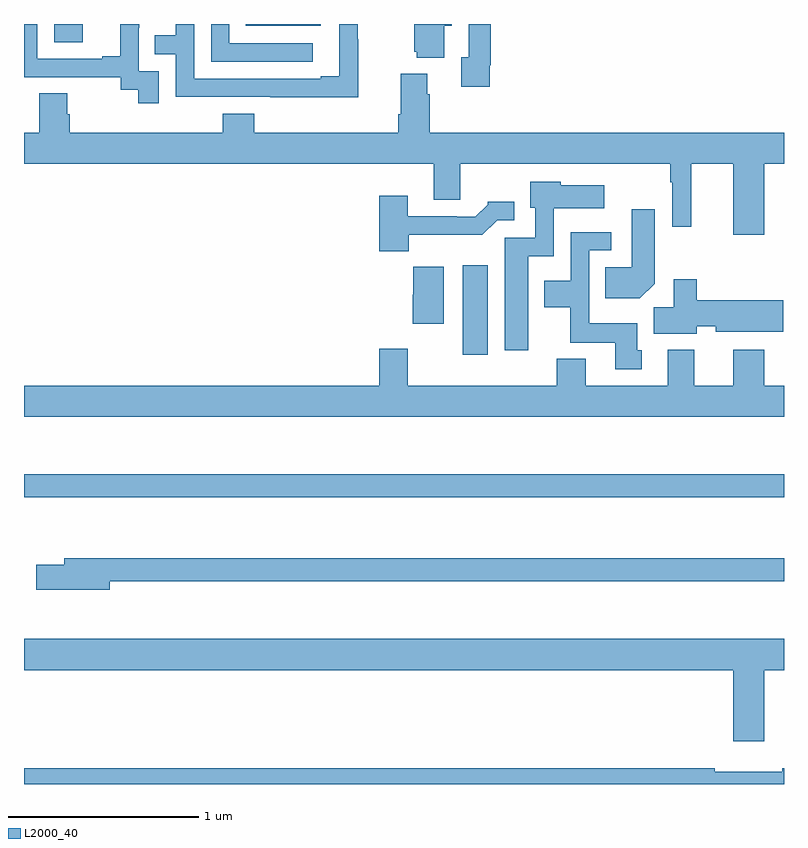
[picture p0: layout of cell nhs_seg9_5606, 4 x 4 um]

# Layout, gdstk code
import gdstk
lib = gdstk.Library(unit=1e-6, precision=1e-09)
def R(c, l, rs):  # rectangles x0, y0, x1, y1
    for r in rs: c.add(gdstk.rectangle(r[:2], r[2:], *l))
def P(c, l, *ps):  # polygons
    for p in ps: c.add(gdstk.Polygon(p, *l))
L2000_40 = (2000, 40)

nhs_seg9_5606 = lib.new_cell('nhs_seg9_5606')
R(nhs_seg9_5606, L2000_40, [(437,1184.01,441,1184.131), (439.31,1184.76,439.441,1185.229), (437.16,1186.404,437.308,1186.5), (438.166,1186.49,438.562,1186.5)])
P(nhs_seg9_5606, L2000_40, [(437.709,1186.251),(437.604,1186.251),(437.604,1186.481),(437.606,1186.481),(437.606,1186.5),(437.507,1186.5),(437.507,1186.33),(437.411,1186.33),(437.411,1186.317),(437.07,1186.317),(437.07,1186.5),(437,1186.5),(437,1186.221),(437.508,1186.221),(437.508,1186.153),(437.601,1186.153),(437.601,1186.083),(437.709,1186.083)],
  [(438.52,1186.398),(438.081,1186.398),(438.081,1186.5),(437.985,1186.5),(437.985,1186.302),(438.52,1186.302)],
  [(439.213,1186.49),(439.252,1186.49),(439.252,1186.5),(439.055,1186.5),(439.055,1186.353),(439.067,1186.353),(439.067,1186.322),(439.213,1186.322)],
  [(438.759,1186.421),(438.756,1186.421),(438.756,1186.5),(438.66,1186.5),(438.66,1186.225),(438.563,1186.225),(438.563,1186.212),(437.895,1186.212),(437.895,1186.5),(437.799,1186.5),(437.799,1186.442),(437.689,1186.442),(437.689,1186.341),(437.799,1186.341),(437.799,1186.116),(438.295,1186.116),(438.295,1186.115),(438.759,1186.115)],
  [(439.45,1186.282),(439.457,1186.282),(439.457,1186.5),(439.341,1186.5),(439.341,1186.326),(439.301,1186.326),(439.301,1186.17),(439.45,1186.17)],
  [(440.896,1185.764),(441,1185.764),(441,1185.928),(439.136,1185.928),(439.136,1186.13),(439.123,1186.13),(439.123,1186.237),(438.983,1186.237),(438.983,1186.024),(438.971,1186.024),(438.971,1185.928),(438.212,1185.928),(438.212,1186.027),(438.047,1186.027),(438.047,1185.928),(437.24,1185.928),(437.24,1186.026),(437.227,1186.026),(437.227,1186.136),(437.08,1186.136),(437.08,1185.928),(437,1185.928),(437,1185.764),(439.157,1185.764),(439.157,1185.574),(439.297,1185.574),(439.297,1185.764),(440.4,1185.764),(440.4,1185.668),(440.412,1185.668),(440.412,1185.432),(440.511,1185.432),(440.511,1185.764),(440.732,1185.764),(440.732,1185.39),(440.896,1185.39)],
  [(439.654,1185.278),(439.788,1185.278),(439.788,1185.53),(440.053,1185.53),(440.053,1185.652),(439.824,1185.652),(439.824,1185.67),(439.664,1185.67),(439.664,1185.534),(439.692,1185.534),(439.692,1185.375),(439.529,1185.375),(439.529,1184.784),(439.654,1184.784)],
  [(439.024,1185.39),(439.413,1185.39),(439.491,1185.468),(439.579,1185.468),(439.579,1185.565),(439.44,1185.565),(439.44,1185.55),(439.376,1185.486),(439.277,1185.486),(439.277,1185.489),(439.021,1185.489),(439.021,1185.595),(438.869,1185.595),(438.869,1185.305),(439.024,1185.305)],
  [(440.32,1185.134),(440.32,1185.526),(440.198,1185.526),(440.198,1185.22),(440.059,1185.22),(440.059,1185.056),(440.242,1185.056)],
  [(440.251,1184.784),(440.227,1184.784),(440.227,1184.926),(439.974,1184.926),(439.974,1185.309),(440.092,1185.309),(440.092,1185.405),(439.878,1185.405),(439.878,1185.148),(439.739,1185.148),(439.739,1185.008),(439.876,1185.008),(439.876,1184.822),(440.111,1184.822),(440.111,1184.682),(440.251,1184.682)],
  [(439.21,1185.223),(439.048,1185.223),(439.048,1185.075),(439.046,1185.075),(439.046,1184.922),(439.21,1184.922)],
  [(440.542,1184.91),(440.642,1184.91),(440.642,1184.879),(440.995,1184.879),(440.995,1185.045),(440.542,1185.045),(440.542,1185.157),(440.42,1185.157),(440.42,1185.008),(440.315,1185.008),(440.315,1184.87),(440.542,1184.87)],
  [(441,1184.596),(440.896,1184.596),(440.896,1184.785),(440.732,1184.785),(440.732,1184.596),(440.527,1184.596),(440.527,1184.785),(440.387,1184.785),(440.387,1184.596),(439.957,1184.596),(439.957,1184.737),(439.805,1184.737),(439.805,1184.596),(439.021,1184.596),(439.021,1184.791),(438.869,1184.791),(438.869,1184.596),(437,1184.596),(437,1184.432),(441,1184.432)],
  [(437.452,1183.566),(441,1183.566),(441,1183.687),(437.213,1183.687),(437.213,1183.653),(437.064,1183.653),(437.064,1183.523),(437.452,1183.523)],
  [(440.896,1183.1),(441,1183.1),(441,1183.264),(437,1183.264),(437,1183.1),(440.732,1183.1),(440.732,1182.726),(440.896,1182.726)],
  [(441,1182.584),(440.992,1182.584),(440.992,1182.565),(440.636,1182.565),(440.636,1182.584),(437,1182.584),(437,1182.5),(441,1182.5)])

lib.write_gds('nhs_seg9_5606.gds')
